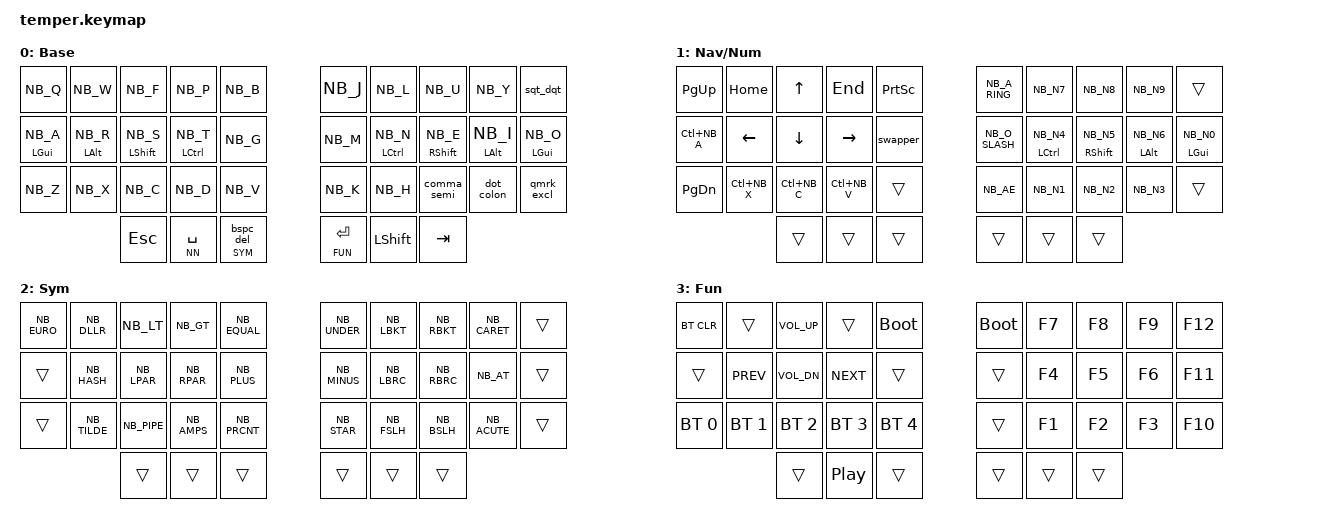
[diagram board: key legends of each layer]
/*
 * Copyright (c) 2020 The ZMK Contributors
 *
 * SPDX-License-Identifier: MIT
 */

#include <behaviors.dtsi>
#include <dt-bindings/zmk/keys.h>
#include <dt-bindings/zmk/bt.h>
#include <dt-bindings/zmk/outputs.h>
#include "keys_nb.h"

#define DEFAULT 0
#define NN 1
#define SYM 2
#define FUN 3

# define ______ &trans

/ {
    behaviors {
        bspc_del: backspace_delete {
            compatible = "zmk,behavior-mod-morph";
            #binding-cells = <0>;
            bindings = <&kp BACKSPACE>, <&kp DELETE>;
            mods = <(MOD_LSFT|MOD_RSFT)>;
        };
        super_bspc: super_backspace {
            compatible = "zmk,behavior-mod-morph";
            #binding-cells = <0>;
            bindings = <&kp BACKSPACE>, <&kp LA(BACKSPACE)>;
            mods = <(MOD_LSFT|MOD_RSFT)>;
        };
        smart_shft: smart_shift {
            compatible = "zmk,behavior-mod-morph";
            #binding-cells = <0>;
            bindings = <&kp LSHFT>, <&caps_word>;
            mods = <(MOD_LSFT)>;
        };
        comma_semi: comma_semi {
            compatible = "zmk,behavior-mod-morph";
            #binding-cells = <0>;
            bindings = <&kp NB_COMMA>, <&kp NB_SEMI>;
            mods = <(MOD_LSFT)>;
        };
        dot_colon: dot_colon {
            compatible = "zmk,behavior-mod-morph";
            #binding-cells = <0>;
            bindings = <&kp NB_DOT>, <&kp NB_COLON>;
            mods = <(MOD_LSFT)>;
        };
        sqt_dqt: sqt_dqt {
            compatible = "zmk,behavior-mod-morph";
            #binding-cells = <0>;
            bindings = <&kp NB_SQT>, <&kp NB_DQT>;
            mods = <(MOD_LSFT)>;
        };
        qmrk_excl: qmrk_excl {
            compatible = "zmk,behavior-mod-morph";
            #binding-cells = <0>;
            bindings = <&kp NB_QMARK>, <&kp NB_EXCL>;
            mods = <(MOD_LSFT)>;
        };
        slh_morph: slh_morph {
            compatible = "zmk,behavior-mod-morph";
            #binding-cells = <0>;
            bindings = <&kp NB_FSLH>, <&kp NB_BSLH>;
            mods = <(MOD_LSFT)>;
        };
        amps_morph: amps_morph {
            compatible = "zmk,behavior-mod-morph";
            #binding-cells = <0>;
            bindings = <&kp NB_AMPS>, <&kp NB_PIPE>;
            mods = <(MOD_LSFT)>;
        };
        hm: hm {
            compatible = "zmk,behavior-hold-tap";
            label = "HM";
            bindings = <&kp>, <&kp>;
    
            #binding-cells = <2>;
            quick-tap-ms = <170>;
            tapping-term-ms = <190>;
            global-quick-tap;
            flavor = "tap-preferred";
        };

        hml: hml {
            compatible = "zmk,behavior-hold-tap";
            label = "HML";
            bindings = <&kp>, <&kp>;
    
            #binding-cells = <2>;
            tapping-term-ms = <280>;
            quick-tap-ms = <175>;
            require-prior-idle-ms = <200>;
            flavor = "balanced";
            hold-trigger-on-release;
            hold-trigger-key-positions = <5 6 7 8 9 15 16 17 18 19 25 26 27 28 29 30 31 32 33 34 35>;
        };

        hmr: hmr {
            compatible = "zmk,behavior-hold-tap";
            label = "HMR";
            bindings = <&kp>, <&kp>;
    
            #binding-cells = <2>;
            tapping-term-ms = <280>;
            quick-tap-ms = <175>;
            require-prior-idle-ms = <200>;
            flavor = "balanced";
            hold-trigger-on-release;
            hold-trigger-key-positions = <0 1 2 3 4 10 11 12 13 14 20 21 22 23 24 30 31 32 33 34 35>;
        };

        hms: hms {
            compatible = "zmk,behavior-hold-tap";
            label = "HMS";
            bindings = <&kp>, <&kp>;
    
            #binding-cells = <2>;
            tapping-term-ms = <350>;
            quick-tap-ms = <175>;
            require-prior-idle-ms = <300>;
            flavor = "tap-preferred";
        };

        swapper: swapper {
            compatible = "zmk,behavior-tri-state";
            #binding-cells = <0>;
            bindings = <&kt LALT>, <&kp TAB>, <&kt LALT>;
        };

        ltq: layer_tap_quick {
            compatible = "zmk,behavior-hold-tap";
            #binding-cells = <2>;
            flavor = "tap-preferred";
            tapping-term-ms = <200>;
            bindings = <&mo>, <&kp>;
            display-name = "Layer-Tap";
            quick-tap-ms = <175>;
        };

        ltq_bspc_del: layer_tap_quick_bspc_del {
            compatible = "zmk,behavior-hold-tap";
            #binding-cells = <2>;
            flavor = "tap-preferred";
            tapping-term-ms = <200>;
            bindings = <&mo>, <&bspc_del>;
            display-name = "Layer-Tap-BspcDel";
            quick-tap-ms = <175>;
        };
    };
        keymap {
                compatible = "zmk,keymap";

                default_layer {
                        bindings = <
// ╭─────────────┬─────────────┬─────────────┬─────────────┬─────────────╮   ╭─────────────┬─────────────┬─────────────┬─────────────┬─────────────╮
        &kp NB_Q      &kp NB_W      &kp NB_F      &kp NB_P      &kp NB_B          &kp NB_J      &kp NB_L      &kp NB_U      &kp NB_Y    &sqt_dqt   
// ├─────────────┼─────────────┼─────────────┼─────────────┼─────────────┤   ├─────────────┼─────────────┼─────────────┼─────────────┼─────────────┤
        &hms LGUI NB_A  &hml LALT NB_R   &hml LSHFT NB_S  &hml LCTRL NB_T  &kp NB_G      &kp NB_M     &hmr LCTRL NB_N  &hmr RSHFT NB_E  &hmr LALT NB_I   &hms LGUI NB_O
// ├─────────────┼─────────────┼─────────────┼─────────────┼─────────────┤   ├─────────────┼─────────────┼─────────────┼─────────────┼─────────────┤
        &kp NB_Z      &kp NB_X      &kp NB_C      &kp NB_D      &kp NB_V          &kp NB_K      &kp NB_H   &comma_semi    &dot_colon    &qmrk_excl
// ╰─────────────┴─────────────┼─────────────┼─────────────┼─────────────┤   ├─────────────┼─────────────┼─────────────┼─────────────┴─────────────╯
                                   &kp ESC      &ltq NN SPACE  &ltq_bspc_del SYM 0     &lt FUN RET  &kp LSHFT  &kp TAB
//                             ╰─────────────┴─────────────┴─────────────╯   ╰─────────────┴─────────────┴─────────────╯
                        >;

                        display-name = "Base";
                };

                nn_layer {
                        bindings = <
// ╭─────────────┬─────────────┬─────────────┬─────────────┬─────────────╮   ╭─────────────┬─────────────┬─────────────┬─────────────┬─────────────╮
    &kp PAGE_UP       &kp HOME      &kp UP        &kp END     &kp PSCRN         &kp NB_A_RING   &kp NB_N7    &kp NB_N8    &kp NB_N9     ______
// ├─────────────┼─────────────┼─────────────┼─────────────┼─────────────┤   ├─────────────┼─────────────┼─────────────┼─────────────┼─────────────┤
    &kp LC(NB_A)      &kp LEFT      &kp DOWN      &kp RIGHT   &swapper         &kp NB_O_SLASH  &hmr LCTRL NB_N4   &hmr RSHFT NB_N5  &hmr LALT NB_N6 &hms LGUI NB_N0
// ├─────────────┼─────────────┼─────────────┼─────────────┼─────────────┤   ├─────────────┼─────────────┼─────────────┼─────────────┼─────────────┤
    &kp PAGE_DOWN     &kp LC(NB_X)  &kp LC(NB_C)  &kp LC(NB_V)  ______          &kp NB_AE       &kp NB_N1    &kp NB_N2    &kp NB_N3     ______
// ╰─────────────┴─────────────┼─────────────┼─────────────┼─────────────┤   ├─────────────┼─────────────┼─────────────┼─────────────┴─────────────╯
                                    ______        ______        ______          ______        ______        ______
//                             ╰─────────────┴─────────────┴─────────────╯   ╰─────────────┴─────────────┴─────────────╯
                        >;
                        
                        display-name = "Nav/Num";
                };
                
                sym_layer {
                        bindings = <
// ╭─────────────┬─────────────┬─────────────┬─────────────┬─────────────╮   ╭─────────────┬─────────────┬─────────────┬─────────────┬─────────────╮
      &kp NB_EURO      &kp NB_DLLR    &kp NB_LT    &kp NB_GT    &kp NB_EQUAL      &kp NB_UNDER    &kp NB_LBKT     &kp NB_RBKT    &kp NB_CARET   ______
// ├─────────────┼─────────────┼─────────────┼─────────────┼─────────────┤   ├─────────────┼─────────────┼─────────────┼─────────────┼─────────────┤
      ______      &kp NB_HASH    &kp NB_LPAR   &kp NB_RPAR      &kp NB_PLUS       &kp NB_MINUS    &kp NB_LBRC     &kp NB_RBRC    &kp NB_AT      ______
// ├─────────────┼─────────────┼─────────────┼─────────────┼─────────────┤   ├─────────────┼─────────────┼─────────────┼─────────────┼─────────────┤
      ______     &kp NB_TILDE    &kp NB_PIPE   &kp NB_AMPS      &kp NB_PRCNT      &kp NB_STAR     &kp NB_FSLH     &kp NB_BSLH    &kp NB_ACUTE   ______
// ╰─────────────┴─────────────┼─────────────┼─────────────┼─────────────┤   ├─────────────┼─────────────┼─────────────┼─────────────┴─────────────╯
                                    ______        ______        ______            ______        ______        ______
//                             ╰─────────────┴─────────────┴─────────────╯   ╰─────────────┴─────────────┴─────────────╯
                        >;
                        
                        display-name = "Sym";
                };

                fun_layer {
                        bindings = <
// ╭─────────────┬─────────────┬─────────────┬─────────────┬─────────────╮   ╭─────────────┬─────────────┬─────────────┬─────────────┬─────────────╮
     &bt BT_CLR     ______        &kp C_VOL_UP   ______      &bootloader         &bootloader    &kp F7        &kp F8        &kp F9       &kp F12
// ├─────────────┼─────────────┼─────────────┼─────────────┼─────────────┤   ├─────────────┼─────────────┼─────────────┼─────────────┼─────────────┤
      ______        &kp C_PREV    &kp C_VOL_DN   &kp C_NEXT  ______               ______        &kp F4        &kp F5        &kp F6       &kp F11
// ├─────────────┼─────────────┼─────────────┼─────────────┼─────────────┤   ├─────────────┼─────────────┼─────────────┼─────────────┼─────────────┤
     &bt BT_SEL 0  &bt BT_SEL 1  &bt BT_SEL 2  &bt BT_SEL 3  &bt BT_SEL 4         ______        &kp F1        &kp F2        &kp F3       &kp F10
// ╰─────────────┴─────────────┼─────────────┼─────────────┼─────────────┤   ├─────────────┼─────────────┼─────────────┼─────────────┴─────────────╯
                                    ______        &kp C_PP        ______            ______        ______        ______
//                             ╰─────────────┴─────────────┴─────────────╯   ╰─────────────┴─────────────┴─────────────╯
                        >;
                        
                        display-name = "Fun";
                };
        };
};
